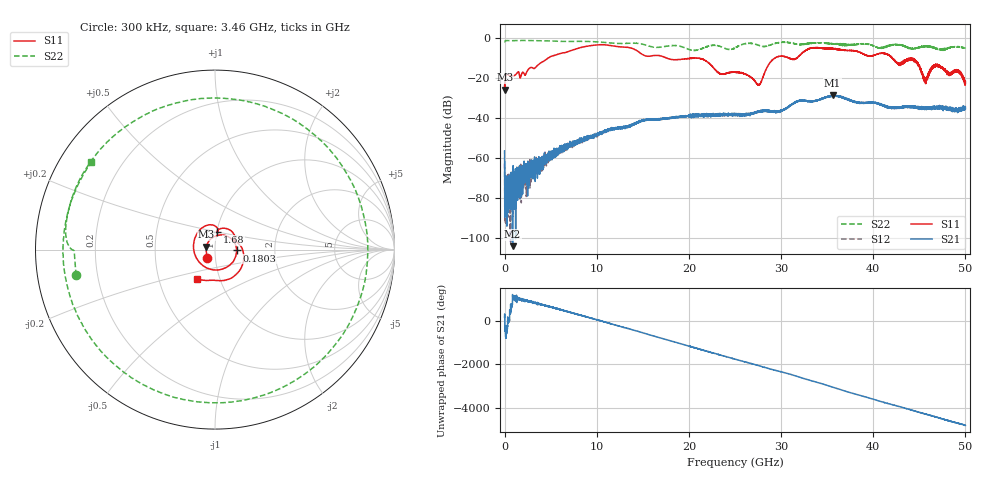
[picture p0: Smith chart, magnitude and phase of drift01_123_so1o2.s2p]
!Created with skrf (http://scikit-rf.org).
# Hz S RI R 50.0
!freq ReS11 ImS11 ReS21 ImS21 ReS12 ImS12 ReS22 ImS22
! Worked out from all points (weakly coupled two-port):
!   10001 points, 300 kHz to 50 GHz, reference 50 ohm
!   highest |S21| = -28.68 dB at 35.59 GHz (marker M1); lowest = -103.8 dB at 865.3 MHz (marker M2)
!   lowest |S11| = -25.8 dB at 5.3 MHz (marker M3), VSWR 1.11, Z = 45.3 + j1.4 ohm
!   |S11| at or under -10 dB: start of sweep to 4.771 GHz; 17.53 GHz to 29.37 GHz (11.85 GHz wide, 50.5 % of centre); 42.05 GHz to end of sweep (the widest 3 of 12)
!   |S22| runs from -6.3 to -1.4 dB; largest |S21 - S12| = 0.0039
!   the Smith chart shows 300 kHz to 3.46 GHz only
!   S11 on the Smith chart (normalised r, x): 300 kHz: 0.91, -0.08; 180.3 MHz: 1.27, -0.01; 1.68 GHz: 1.01, +0.20; 3.46 GHz: 0.78, -0.26
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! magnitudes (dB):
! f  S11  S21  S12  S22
! 300 kHz  -23.6  -56.4  -62.6  -2.1
! 5.3 MHz  -25.8  -76.6  -75.0  -2.1
! 180.3 MHz  -18.4  -88.0  -75.6  -1.4
! 865.3 MHz  -19.0  -103.8  -75.7  -1.5
! 1.68 GHz  -20.1  -67.6  -67.0  -1.4
! 3.46 GHz  -14.3  -64.3  -67.0  -1.5
! 8.335 GHz  -4.8  -51.0  -51.5  -1.8
! 16.67 GHz  -8.8  -40.6  -40.7  -4.8
! 21.22 GHz  -10.3  -38.7  -38.5  -5.7
! 23.39 GHz  -17.9  -38.2  -38.2  -4.3
! 25 GHz  -17.0  -38.5  -38.2  -5.1
! 27.59 GHz  -23.5  -36.8  -36.9  -3.8
! 29.28 GHz  -10.3  -37.1  -37.0  -2.9
! 31.48 GHz  -10.7  -32.2  -32.3  -2.9
! 33.34 GHz  -5.1  -31.5  -31.7  -2.7
! 35.59 GHz  -5.4  -28.7  -28.8  -2.9
! 41.67 GHz  -8.7  -34.8  -34.6  -4.2
! 42.81 GHz  -13.5  -35.3  -34.9  -3.6
! 44.44 GHz  -10.6  -34.3  -34.9  -5.3
! 45.63 GHz  -20.7  -35.2  -35.3  -4.4
! 46.96 GHz  -13.3  -34.4  -34.7  -5.6
! 50 GHz  -21.8  -35.3  -35.0  -5.4
